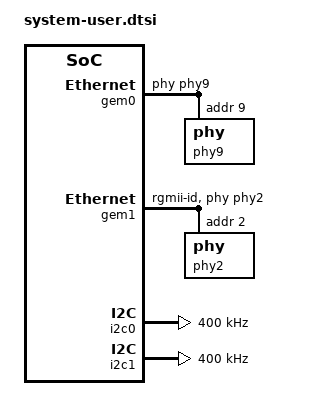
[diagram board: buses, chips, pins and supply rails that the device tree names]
/*
  Copyright 2021 Xilinx, Inc.
  Copyright (C) 2022, Advanced Micro Devices, Inc.
  
  Licensed under the Apache License, Version 2.0 (the "License");
  you may not use this file except in compliance with the License.
  You may obtain a copy of the License at
 
      http://www.apache.org/licenses/LICENSE-2.0
 
  Unless required by applicable law or agreed to in writing, software
  distributed under the License is distributed on an "AS IS" BASIS,
  WITHOUT WARRANTIES OR CONDITIONS OF ANY KIND, either express or implied.
  See the License for the specific language governing permissions and
  limitations under the License.
*/ 

/include/ "system-conf.dtsi"
/ {
};

&sdhci1{
  no-1-8-v;
  sdhci-caps-mask = <0x00 0x200000>;
  sdhci-caps = <0x00 0x00>;
  max-frequency = <0x121eac0>;
};

&gem0 {
  phy-handle = <&phy9>;
/*  local-mac-address = [00 0a 35 05 47 93]; */
  phy9: phy@9 {
    reg = <0x9>;
    xlnx,phy-type = <0x5>;
  };
};

&gem1 { /* PMC_MIO_49, LPD_MIO12-23 */
	phy-handle = <&phy2>; /* u134 */
	phy-mode = "rgmii-id";
  phy2: phy@2 {
	  reg = <0x02>;
	  ti,rx-internal-delay = <0x0b>;
	  ti,tx-internal-delay = <0x0a>;
	  ti,fifo-depth = <0x01>;
	  ti,dp83867-rxctrl-strap-quirk;
	};
};

&i2c0 { /* PMC_MIO46/47 */
	clock-frequency = <400000>;
};

&i2c1 { /* PMC_MIO44/45 */
	clock-frequency = <400000>;
};

